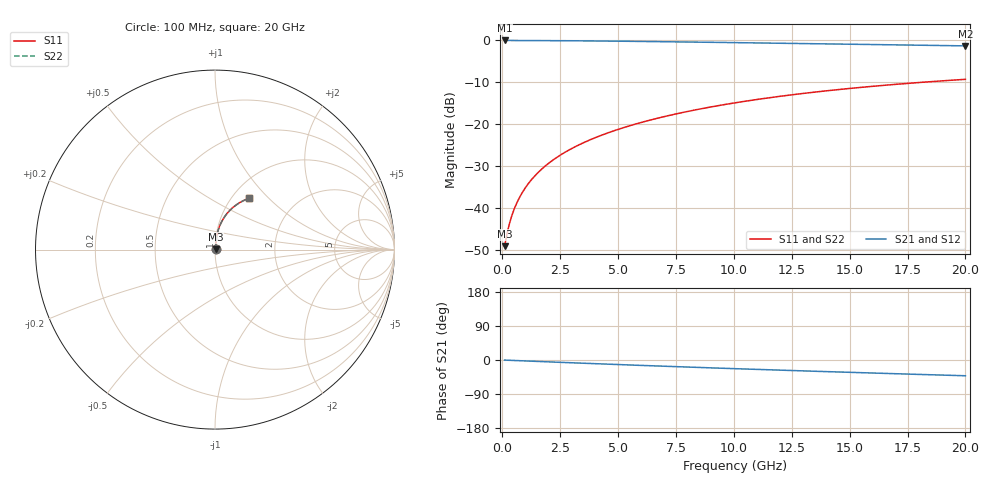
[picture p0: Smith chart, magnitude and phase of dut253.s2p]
! Touchstone file exported from HFSS 2024.1.0
!  File:  C:/UserFiles/LocalFiles/RDL_TSV_Batchsim/temp_RDL_bottom_253_1778701780.aedt
!  Generated:  03:52:18 AM May 14, 2026
!  Design:  RDL_bottom
!  Project:  temp_RDL_bottom_253_1778701780
!  Setup:  Setup1
!  Solution:  Sweep
! Variables:
!  dtsv = 10.80580581um
!  hbump = 3um
!  htsv = 69.82um
!  ldown = 639.38um
!  lrdl = 100um
!  p = 40
!  p1 = 40.91um
!  rhole = 1um
!  t = 450um
!  tdown = 4.01um
!  trdl = 3.915915916um
!  wdown = 20.07um
!  wrdl = 20um
# GHz S MA R 50.000000
! Terminal data exported
! Port[1] = RDL1_T1
! Port[2] = RDL1_T2
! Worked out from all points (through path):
!   200 points, 100 MHz to 20 GHz, reference 50 ohm
!   highest |S21| = -0.03 dB at 100 MHz (marker M1); lowest = -1.3 dB at 20 GHz (marker M2)
!   group delay of S21, straight-line fit = 5.73 ps
!   lowest |S11| = -49.0 dB at 100 MHz (marker M3), VSWR 1.01, Z = 50.3 + j0.194 ohm
!   |S11| at or under -10 dB: start of sweep to 18.08 GHz
!   |S22| runs from -49.0 to -9.3 dB; largest |S21 - S12| = 3.5e-15
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0.1  0.003557 32.9  0.997 -0.3  0.997 -0.3  0.003557 32.9
! Gamma 0 0 0 0
! Port Impedance 50 0 50 0
0.2  0.004917 50.2  0.9968 -0.5  0.9968 -0.5  0.004917 50.2
0.3  0.006455 59.0  0.9966 -0.8  0.9966 -0.8  0.006456 59.0
0.4  0.008024 64.3  0.9964 -1.0  0.9964 -1.0  0.008025 64.3
0.5  0.009603 67.9  0.9962 -1.3  0.9962 -1.3  0.009603 67.9
0.6  0.01119 70.6  0.9961 -1.5  0.9961 -1.5  0.01119 70.6
0.8  0.01441 74.4  0.9958 -2.0  0.9958 -2.0  0.01441 74.3
1.1  0.01932 77.7  0.9952 -2.7  0.9952 -2.7  0.01932 77.7
1.3  0.02264 79.1  0.9948 -3.2  0.9948 -3.2  0.02264 79.1
1.6  0.02767 80.6  0.994 -4.0  0.994 -4.0  0.02767 80.5
2.1  0.03614 81.9  0.9925 -5.2  0.9925 -5.2  0.03614 81.9
2.7  0.04645 82.6  0.9902 -6.6  0.9902 -6.6  0.04645 82.6
3.5  0.06041 82.8  0.9864 -8.5  0.9864 -8.5  0.0604 82.7
4.2  0.07282 82.5  0.9825 -10.2  0.9825 -10.2  0.0728 82.5
5  0.0872 82.0  0.9775 -12.0  0.9775 -12.0  0.08717 81.9
6.8  0.1202 79.9  0.965 -16.1  0.965 -16.1  0.1202 79.8
8.4  0.15 77.5  0.9528 -19.5  0.9528 -19.5  0.1499 77.4
10.1  0.1815 74.6  0.9394 -23.0  0.9394 -23.0  0.1813 74.6
11.7  0.2106 71.7  0.9265 -26.2  0.9265 -26.2  0.2104 71.7
13.4  0.2406 68.6  0.9127 -29.5  0.9127 -29.5  0.2404 68.5
16.7  0.2951 62.4  0.8859 -35.7  0.8859 -35.7  0.2948 62.3
20  0.3438 56.4  0.8595 -41.6  0.8595 -41.6  0.3434 56.3
